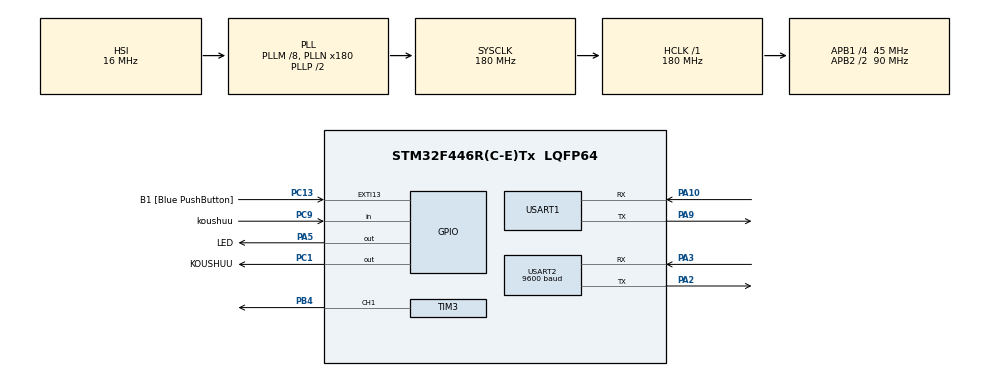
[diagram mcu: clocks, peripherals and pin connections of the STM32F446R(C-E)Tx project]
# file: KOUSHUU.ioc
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Mcu.Family=STM32F4
Mcu.Name=STM32F446R(C-E)Tx
Mcu.Package=LQFP64
NVIC.PriorityGroup=NVIC_PRIORITYGROUP_0
PA10.Mode=Asynchronous
PA10.Signal=USART1_RX
PA13.GPIO_Label=TMS
PA13.Mode=Serial_Wire
PA13.Signal=SYS_JTMS-SWDIO
PA14.GPIO_Label=TCK
PA14.Mode=Serial_Wire
PA14.Signal=SYS_JTCK-SWCLK
PA2.Mode=Asynchronous
PA2.Signal=USART2_TX
PA3.Mode=Asynchronous
PA3.Signal=USART2_RX
PA5.GPIO_Label=LED
PA5.Signal=GPIO_Output
PA9.Mode=Asynchronous
PA9.Signal=USART1_TX
PB3.GPIO_Label=SWO
PB3.Signal=SYS_JTDO-SWO
PB4.Signal=S_TIM3_CH1
PC1.GPIO_Label=KOUSHUU
PC1.Signal=GPIO_Output
PC13.GPIO_Label=B1 [Blue PushButton]
PC13.GPIO_ModeDefaultEXTI=GPIO_MODE_IT_FALLING
PC13.Signal=GPXTI13
PC14-OSC32_IN.Mode=LSE-External-Oscillator
PC14-OSC32_IN.Signal=RCC_OSC32_IN
PC15-OSC32_OUT.Mode=LSE-External-Oscillator
PC15-OSC32_OUT.Signal=RCC_OSC32_OUT
PC9.GPIO_Label=koushuu
PC9.Signal=GPIO_Input
PH0-OSC_IN.Mode=HSE-External-Oscillator
PH0-OSC_IN.Signal=RCC_OSC_IN
PH1-OSC_OUT.Mode=HSE-External-Oscillator
PH1-OSC_OUT.Signal=RCC_OSC_OUT
ProjectManager.HeapSize=0x200
ProjectManager.StackSize=0x400
ProjectManager.TargetToolchain=CMake
RCC.48MHZClocksFreq_Value=84000000
RCC.AHBFreq_Value=180000000
RCC.APB1CLKDivider=RCC_HCLK_DIV4
RCC.APB1Freq_Value=45000000
RCC.APB1TimFreq_Value=90000000
RCC.APB2CLKDivider=RCC_HCLK_DIV2
RCC.APB2Freq_Value=90000000
RCC.APB2TimFreq_Value=180000000
RCC.CortexFreq_Value=180000000
RCC.FLatency-AdvancedSettings=FLASH_LATENCY_5
RCC.HCLKFreq_Value=180000000
RCC.HSE_VALUE=8000000
RCC.HSI_VALUE=16000000
RCC.PLLM=8
RCC.PLLN=180
RCC.SYSCLKFreq_VALUE=180000000
RCC.SYSCLKSource=RCC_SYSCLKSOURCE_PLLCLK
RCC.USBFreq_Value=180000000
RCC.VCOOutputFreq_Value=360000000
SH.S_TIM3_CH1.0=TIM3_CH1,PWM Generation1 CH1
TIM3.Channel-PWM\ Generation1\ CH1=TIM_CHANNEL_1
TIM3.Period=999
TIM3.Prescaler=8
USART1.VirtualMode=VM_ASYNC
USART2.BaudRate=9600
USART2.VirtualMode=VM_ASYNC
board=NUCLEO-F446RE

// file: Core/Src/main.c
/* USER CODE BEGIN Header */
/**
  ******************************************************************************
  * @file           : main.c
  * @brief          : Main program body
  ******************************************************************************
  * @attention
  *
  * Copyright (c) 2026 STMicroelectronics.
  * All rights reserved.
  *
  * This software is licensed under terms that can be found in the LICENSE file
  * in the root directory of this software component.
  * If no LICENSE file comes with this software, it is provided AS-IS.
  *
  ******************************************************************************
  */
/* USER CODE END Header */
#include "main.h"

/* USER CODE BEGIN Includes */
#include <stdio.h>
#include <stdarg.h>
/* USER CODE END Includes */

TIM_HandleTypeDef htim3;

UART_HandleTypeDef huart1;
UART_HandleTypeDef huart2;

void SystemClock_Config(void);
static void MX_GPIO_Init(void);
static void MX_TIM3_Init(void);
static void MX_USART2_UART_Init(void);
static void MX_USART1_UART_Init(void);
/* USER CODE BEGIN PFP */
int uart_printf(const char* format, ...)
{
  char buffer[96];
  va_list args;
  va_start(args, format);
  int len = vsnprintf(buffer, sizeof(buffer), format, args);
  va_end(args);

  if(len > 0)
  {
    HAL_UART_Transmit(&huart2, (uint8_t*)buffer, len, HAL_MAX_DELAY);
  }

  return len;
}
/* USER CODE END PFP */

int main(void)
{

  /* MCU Configuration--------------------------------------------------------*/

  /* Reset of all peripherals, Initializes the Flash interface and the Systick. */
  HAL_Init();

  /* Configure the system clock */
  SystemClock_Config();

  /* Initialize all configured peripherals */
  MX_GPIO_Init();
  MX_TIM3_Init();
  MX_USART2_UART_Init();
  MX_USART1_UART_Init();
  /* USER CODE BEGIN 2 */
HAL_GPIO_WritePin(KOUSHUU_GPIO_Port,KOUSHUU_Pin,GPIO_PIN_SET);
HAL_TIM_PWM_Start(&htim3, TIM_CHANNEL_1);
//char c = 'A';

  /* USER CODE END 2 */

  /* Infinite loop */
  /* USER CODE BEGIN WHILE */
  while (1)
  {
    for(int i=1;i<1000;i+=10){
      __HAL_TIM_SET_COMPARE(&htim3, TIM_CHANNEL_1, i);
      HAL_Delay(10);
    }
    for(int i=999;i>=1;i-=10){
      __HAL_TIM_SET_COMPARE(&htim3, TIM_CHANNEL_1, i);
      HAL_Delay(10);
    }

    /*
    if(HAL_UART_Receive(&huart1, (uint8_t*)&c, sizeof(c), HAL_MAX_DELAY) == HAL_OK){
      uart_printf("receive%c\n",c);
      HAL_Delay(1000);
      c++;

      HAL_UART_Transmit(&huart1, (uint8_t*)&c, sizeof(c), HAL_MAX_DELAY);
    }
      */

    /* USER CODE END WHILE */

  }
}

void SystemClock_Config(void)
{
  RCC_OscInitTypeDef RCC_OscInitStruct = {0};
  RCC_ClkInitTypeDef RCC_ClkInitStruct = {0};

  /** Configure the main internal regulator output voltage
  */
  __HAL_RCC_PWR_CLK_ENABLE();
  __HAL_PWR_VOLTAGESCALING_CONFIG(PWR_REGULATOR_VOLTAGE_SCALE1);

  /** Initializes the RCC Oscillators according to the specified parameters
  * in the RCC_OscInitTypeDef structure.
  */
  RCC_OscInitStruct.OscillatorType = RCC_OSCILLATORTYPE_HSI;
  RCC_OscInitStruct.HSIState = RCC_HSI_ON;
  RCC_OscInitStruct.HSICalibrationValue = RCC_HSICALIBRATION_DEFAULT;
  RCC_OscInitStruct.PLL.PLLState = RCC_PLL_ON;
  RCC_OscInitStruct.PLL.PLLSource = RCC_PLLSOURCE_HSI;
  RCC_OscInitStruct.PLL.PLLM = 8;
  RCC_OscInitStruct.PLL.PLLN = 180;
  RCC_OscInitStruct.PLL.PLLP = RCC_PLLP_DIV2;
  RCC_OscInitStruct.PLL.PLLQ = 2;
  RCC_OscInitStruct.PLL.PLLR = 2;
  if (HAL_RCC_OscConfig(&RCC_OscInitStruct) != HAL_OK)
  {
    Error_Handler();
  }

  /** Activate the Over-Drive mode
  */
  if (HAL_PWREx_EnableOverDrive() != HAL_OK)
  {
    Error_Handler();
  }

  /** Initializes the CPU, AHB and APB buses clocks
  */
  RCC_ClkInitStruct.ClockType = RCC_CLOCKTYPE_HCLK|RCC_CLOCKTYPE_SYSCLK
                              |RCC_CLOCKTYPE_PCLK1|RCC_CLOCKTYPE_PCLK2;
  RCC_ClkInitStruct.SYSCLKSource = RCC_SYSCLKSOURCE_PLLCLK;
  RCC_ClkInitStruct.AHBCLKDivider = RCC_SYSCLK_DIV1;
  RCC_ClkInitStruct.APB1CLKDivider = RCC_HCLK_DIV4;
  RCC_ClkInitStruct.APB2CLKDivider = RCC_HCLK_DIV2;

  if (HAL_RCC_ClockConfig(&RCC_ClkInitStruct, FLASH_LATENCY_5) != HAL_OK)
  {
    Error_Handler();
  }
}

static void MX_TIM3_Init(void)
{

  TIM_MasterConfigTypeDef sMasterConfig = {0};
  TIM_OC_InitTypeDef sConfigOC = {0};

  htim3.Instance = TIM3;
  htim3.Init.Prescaler = 8;
  htim3.Init.CounterMode = TIM_COUNTERMODE_UP;
  htim3.Init.Period = 999;
  htim3.Init.ClockDivision = TIM_CLOCKDIVISION_DIV1;
  htim3.Init.AutoReloadPreload = TIM_AUTORELOAD_PRELOAD_DISABLE;
  if (HAL_TIM_PWM_Init(&htim3) != HAL_OK)
  {
    Error_Handler();
  }
  sMasterConfig.MasterOutputTrigger = TIM_TRGO_RESET;
  sMasterConfig.MasterSlaveMode = TIM_MASTERSLAVEMODE_DISABLE;
  if (HAL_TIMEx_MasterConfigSynchronization(&htim3, &sMasterConfig) != HAL_OK)
  {
    Error_Handler();
  }
  sConfigOC.OCMode = TIM_OCMODE_PWM1;
  sConfigOC.Pulse = 0;
  sConfigOC.OCPolarity = TIM_OCPOLARITY_HIGH;
  sConfigOC.OCFastMode = TIM_OCFAST_DISABLE;
  if (HAL_TIM_PWM_ConfigChannel(&htim3, &sConfigOC, TIM_CHANNEL_1) != HAL_OK)
  {
    Error_Handler();
  }
  HAL_TIM_MspPostInit(&htim3);

}

static void MX_USART1_UART_Init(void)
{

  huart1.Instance = USART1;
  huart1.Init.BaudRate = 115200;
  huart1.Init.WordLength = UART_WORDLENGTH_8B;
  huart1.Init.StopBits = UART_STOPBITS_1;
  huart1.Init.Parity = UART_PARITY_NONE;
  huart1.Init.Mode = UART_MODE_TX_RX;
  huart1.Init.HwFlowCtl = UART_HWCONTROL_NONE;
  huart1.Init.OverSampling = UART_OVERSAMPLING_16;
  if (HAL_UART_Init(&huart1) != HAL_OK)
  {
    Error_Handler();
  }

}

static void MX_USART2_UART_Init(void)
{

  huart2.Instance = USART2;
  huart2.Init.BaudRate = 9600;
  huart2.Init.WordLength = UART_WORDLENGTH_8B;
  huart2.Init.StopBits = UART_STOPBITS_1;
  huart2.Init.Parity = UART_PARITY_NONE;
  huart2.Init.Mode = UART_MODE_TX_RX;
  huart2.Init.HwFlowCtl = UART_HWCONTROL_NONE;
  huart2.Init.OverSampling = UART_OVERSAMPLING_16;
  if (HAL_UART_Init(&huart2) != HAL_OK)
  {
    Error_Handler();
  }

}

static void MX_GPIO_Init(void)
{
  GPIO_InitTypeDef GPIO_InitStruct = {0};

  /* GPIO Ports Clock Enable */
  __HAL_RCC_GPIOC_CLK_ENABLE();
  __HAL_RCC_GPIOH_CLK_ENABLE();
  __HAL_RCC_GPIOA_CLK_ENABLE();
  __HAL_RCC_GPIOB_CLK_ENABLE();

  /*Configure GPIO pin Output Level */
  HAL_GPIO_WritePin(KOUSHUU_GPIO_Port, KOUSHUU_Pin, GPIO_PIN_RESET);

  /*Configure GPIO pin Output Level */
  HAL_GPIO_WritePin(LED_GPIO_Port, LED_Pin, GPIO_PIN_RESET);

  /*Configure GPIO pin : B1_Pin */
  GPIO_InitStruct.Pin = B1_Pin;
  GPIO_InitStruct.Mode = GPIO_MODE_IT_FALLING;
  GPIO_InitStruct.Pull = GPIO_NOPULL;
  HAL_GPIO_Init(B1_GPIO_Port, &GPIO_InitStruct);

  /*Configure GPIO pin : KOUSHUU_Pin */
  GPIO_InitStruct.Pin = KOUSHUU_Pin;
  GPIO_InitStruct.Mode = GPIO_MODE_OUTPUT_PP;
  GPIO_InitStruct.Pull = GPIO_NOPULL;
  GPIO_InitStruct.Speed = GPIO_SPEED_FREQ_LOW;
  HAL_GPIO_Init(KOUSHUU_GPIO_Port, &GPIO_InitStruct);

  /*Configure GPIO pin : LED_Pin */
  GPIO_InitStruct.Pin = LED_Pin;
  GPIO_InitStruct.Mode = GPIO_MODE_OUTPUT_PP;
  GPIO_InitStruct.Pull = GPIO_NOPULL;
  GPIO_InitStruct.Speed = GPIO_SPEED_FREQ_LOW;
  HAL_GPIO_Init(LED_GPIO_Port, &GPIO_InitStruct);

  /*Configure GPIO pin : koushuu_Pin */
  GPIO_InitStruct.Pin = koushuu_Pin;
  GPIO_InitStruct.Mode = GPIO_MODE_INPUT;
  GPIO_InitStruct.Pull = GPIO_NOPULL;
  HAL_GPIO_Init(koushuu_GPIO_Port, &GPIO_InitStruct);

}

void Error_Handler(void)
{
  __disable_irq();
  while (1)
  {
  }
}
